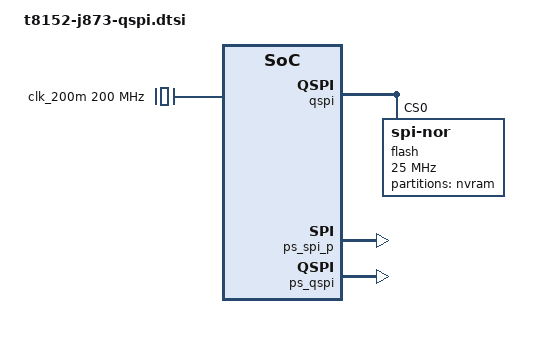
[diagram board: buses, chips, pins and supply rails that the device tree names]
// SPDX-License-Identifier: GPL-2.0+ OR MIT
/*
 * Boot NOR of the Apple Mac mini (M6), J873g, behind the QSPIMC controller.
 *
 * The register address is the CPU physical address: the device tree of the boot firmware lists the controller
 * at 0x131118000 relative to /arm-io, and /arm-io is mapped at 0x200000000. The only part of the NOR the driver
 * lets programs and erases through is the "nvram" partition (the boot variables). A read of the NOR through
 * the controller at its offset (0x24000) returns the boot variables from the first byte, and the last used
 * byte of the store lies inside its size (0xd0000).
 *
 * The controller sits behind a chain of power domains: qspi needs spi_p, and spi_p needs sio. At boot the
 * firmware leaves sio on and spi_p and qspi off (power state registers 0xd40 and 0x1140 read target 0, actual
 * 0). sio is therefore always-on, like the other domains in t8152-j873-pmgr.dtsi, so that gating it cannot take
 * down anything else. spi_p and qspi are not always-on: attaching the controller to its power domain powers
 * the chain before the driver probes. The driver makes no runtime PM call of its own.
 */

/ {
	clk_200m: clock-200m {
		compatible = "fixed-clock";
		#clock-cells = <0>;
		clock-frequency = <200000000>;
		clock-output-names = "clk_200m";
	};

	soc {
		qspi: spi@331118000 {
			compatible = "apple,t8152-qspi", "apple,t8140-qspi";
			reg = <0x3 0x31118000 0x0 0x4800>;
			clocks = <&clk_200m>;
			power-domains = <&ps_qspi>;
			interrupt-parent = <&aic>;
			interrupts = <AIC_IRQ 1411 IRQ_TYPE_LEVEL_HIGH>;
			#address-cells = <1>;
			#size-cells = <0>;

			flash@0 {
				compatible = "jedec,spi-nor";
				reg = <0>;
				spi-max-frequency = <25000000>;

				partitions {
					compatible = "fixed-partitions";
					#address-cells = <1>;
					#size-cells = <1>;

					partition@24000 {
						label = "nvram";
						reg = <0x24000 0xd0000>;
					};
				};
			};
		};
	};
};

&pmgr0 {
	ps_sio: power-controller@840 {
		compatible = "apple,t8152-pmgr-pwrstate", "apple,t8103-pmgr-pwrstate";
		reg = <0x840 4>;
		#power-domain-cells = <0>;
		#reset-cells = <0>;
		label = "sio";
		apple,always-on;
	};

	ps_spi_p: power-controller@d40 {
		compatible = "apple,t8152-pmgr-pwrstate", "apple,t8103-pmgr-pwrstate";
		reg = <0xd40 4>;
		#power-domain-cells = <0>;
		#reset-cells = <0>;
		label = "spi_p";
		power-domains = <&ps_sio>;
	};

	ps_qspi: power-controller@1140 {
		compatible = "apple,t8152-pmgr-pwrstate", "apple,t8103-pmgr-pwrstate";
		reg = <0x1140 4>;
		#power-domain-cells = <0>;
		#reset-cells = <0>;
		label = "qspi";
		power-domains = <&ps_spi_p>;
	};
};
